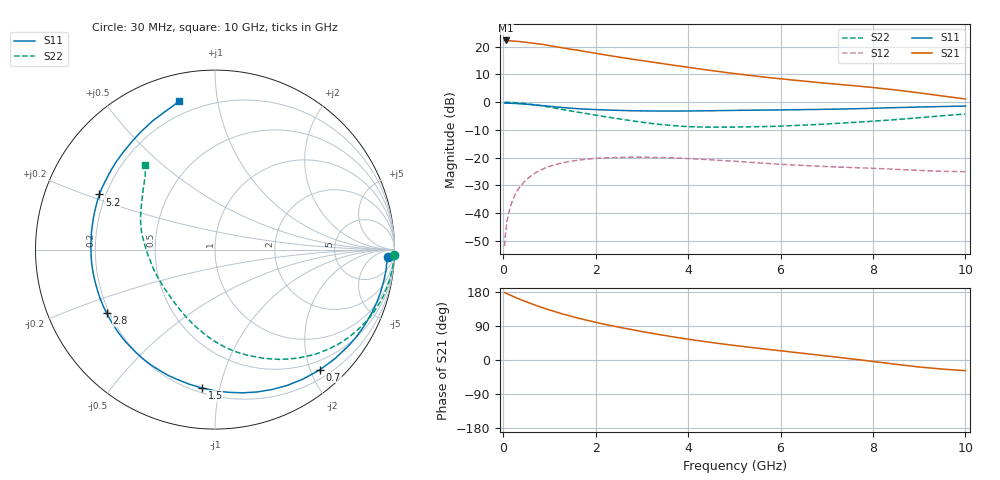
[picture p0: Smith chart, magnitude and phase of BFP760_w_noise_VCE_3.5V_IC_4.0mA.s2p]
! Infineon Technologies  Discrete & RF Semiconductors
! BFP760
! VCE =  3.5 V,  IC =  4.0 mA
! Common Emitter S-Parameters:  Nov 2012
# GHz  S  MA  R  50
!  f  S11  S21  S12  S22
! GHz  MAG  ANG  MAG  ANG  MAG  ANG  MAG  ANG
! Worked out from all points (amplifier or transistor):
!   99 points, 30 MHz to 10 GHz, reference 50 ohm
!   highest |S21| = 22.3 dB at 50 MHz (marker M1)
!   |S21| within 3 dB of that: start of sweep to 1.397 GHz
!   unconditionally stable (mu >= 1): 6.461 GHz to end of sweep
!   at 350 MHz: K = 0.08, MSG = 26.4 dB, |S12| = -30.8 dB
!   at 3.5 GHz: K = 0.43, MSG = 16.9 dB, |S12| = -20.1 dB
!   at 10 GHz: K = 1.37, MAG = 9.5 dB, |S12| = -25.1 dB
!   lowest NFmin = 0.43 dB at 900 MHz
!   S11 on the Smith chart (normalised r, x): 30 MHz: 25, -26; 700 MHz: 0.34, -2.16; 1.5 GHz: 0.23, -0.88; 2.8 GHz: 0.19, -0.26; 5.2 GHz: 0.18, +0.22; 10 GHz: 0.13, +0.78
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0.03  0.962 -2.3  12.85 178.1  0.0025 88.8  0.9985 -1.8
0.05  0.9613 -3.7  13.03 176.6  0.0042 98.3  0.996 -2.5
0.15  0.9559 -11.0  12.83 171.3  0.0125 82.4  0.9915 -7.6
0.3  0.9425 -21.7  12.53 163.3  0.0249 75.8  0.9746 -14.9
0.4  0.9306 -28.7  12.32 158.3  0.0322 71.8  0.9567 -19.6
0.6  0.9033 -42.3  11.74 148.9  0.0465 63.3  0.9153 -28.8
0.7  0.8888 -48.8  11.45 144.5  0.053 59.5  0.8924 -33.1
0.9  0.8574 -61.8  10.88 136.0  0.0644 52.1  0.8395 -41.5
1.1  0.827 -73.6  10.18 128.3  0.0734 45.3  0.785 -49.2
1.3  0.7982 -84.8  9.531 121.0  0.0807 39.2  0.7331 -56.3
1.5  0.7744 -95.4  8.934 114.4  0.0864 33.8  0.6847 -62.8
1.7  0.7543 -105.5  8.416 108.1  0.091 29.0  0.6409 -68.9
2.2  0.7229 -127.5  7.159 94.1  0.0982 18.2  0.5475 -83.9
2.5  0.7102 -139.0  6.525 86.7  0.1004 12.8  0.5004 -92.1
2.8  0.7 -149.6  5.969 79.8  0.1013 7.8  0.4583 -100.2
3.4  0.6911 -168.8  5.038 66.6  0.0999 -0.8  0.396 -117.2
4.1  0.6944 173.3  4.151 53.2  0.0947 -8.7  0.3594 -136.2
5.1  0.7117 155.8  3.215 37.0  0.0846 -15.9  0.356 -157.4
5.2  0.7137 154.5  3.143 35.5  0.0835 -16.3  0.3569 -159.1
6.7  0.7373 137.9  2.315 14.7  0.0706 -19.0  0.3918 176.4
8.5  0.7971 115.8  1.659 -11.4  0.0611 -18.2  0.4837 147.8
10  0.8506 103.7  1.143 -28.2  0.0555 -11.8  0.612 129.4
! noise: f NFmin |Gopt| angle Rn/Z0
0.9  0.43  0.46  26  0.14
1.8  0.52  0.39  54  0.12
2.4  0.63  0.33  75  0.11
3.5  0.81  0.27  109  0.1
5.5  1.15  0.36  -157  0.08
8  1.69  0.49  -104  0.29
